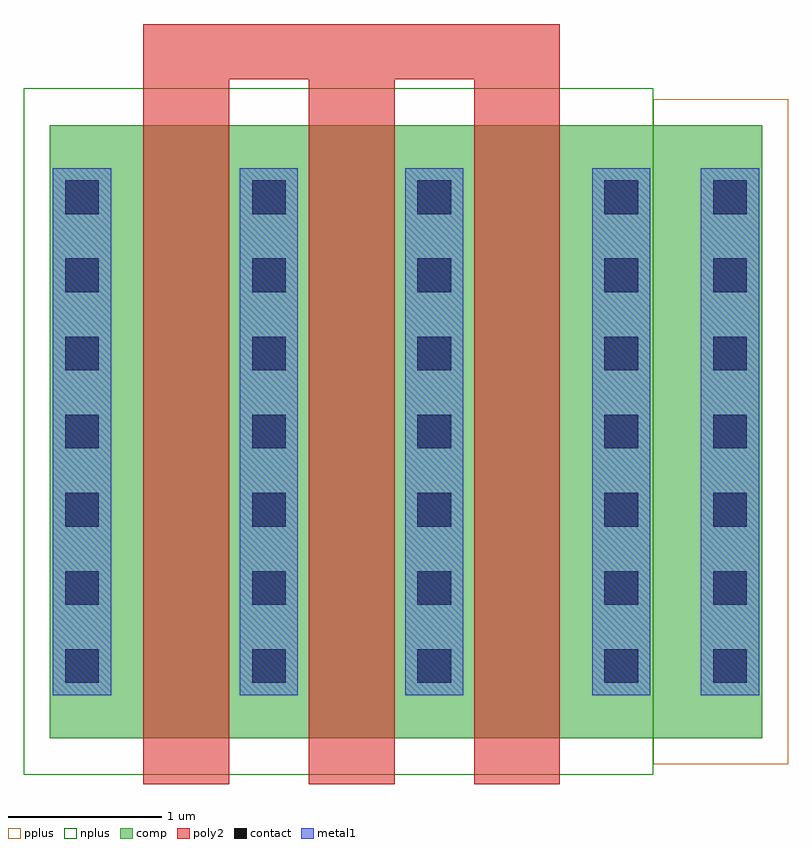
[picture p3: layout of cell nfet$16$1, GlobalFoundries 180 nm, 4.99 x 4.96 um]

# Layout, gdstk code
import gdstk
lib = gdstk.Library(unit=1e-6, precision=1e-09)
def R(c, l, rs):  # rectangles x0, y0, x1, y1
    for r in rs: c.add(gdstk.rectangle(r[:2], r[2:], *l))
def A(c, l, x, y, w, h, nx, ny, dx, dy):  # array of equal rectangles
    R(c, l, [(x+i*dx, y+j*dy, x+i*dx+w, y+j*dy+h) for i in range(nx) for j in range(ny)])
comp = (22, 0)
poly2 = (30, 0)
pplus = (31, 0)
nplus = (32, 0)
contact = (33, 0)
metal1 = (34, 0)

nfet_16_1 = lib.new_cell('nfet$16$1')
R(nfet_16_1, comp, [(-0.42,0,0,4), (0,0,3.1,4), (3.1,0,3.52,4), (3.52,0,4.23,4)])
A(nfet_16_1, poly2, 0.19, -0.3, 0.56, 4.6, 3, 1, 1.08, 0)
R(nfet_16_1, poly2, [(0.19,4.3,2.91,4.66)])
R(nfet_16_1, pplus, [(3.52,-0.17,4.4,4.17)])
R(nfet_16_1, nplus, [(-0.59,-0.24,3.52,4.24)])
A(nfet_16_1, contact, -0.32, 0.36, 0.22, 0.22, 1, 7, 0, 0.51)
A(nfet_16_1, contact, 0.9, 0.36, 0.22, 0.22, 1, 7, 0, 0.51)
A(nfet_16_1, contact, 1.98, 0.36, 0.22, 0.22, 1, 7, 0, 0.51)
A(nfet_16_1, contact, 3.2, 0.36, 0.22, 0.22, 1, 7, 0, 0.51)
A(nfet_16_1, contact, 3.91, 0.36, 0.22, 0.22, 1, 7, 0, 0.51)
R(nfet_16_1, metal1, [(-0.4,0.28,-0.02,3.72), (0.82,0.28,1.2,3.72), (1.9,0.28,2.28,3.72), (3.12,0.28,3.5,3.72), (3.83,0.28,4.21,3.72)])

lib.write_gds('nfet_16_1.gds')
